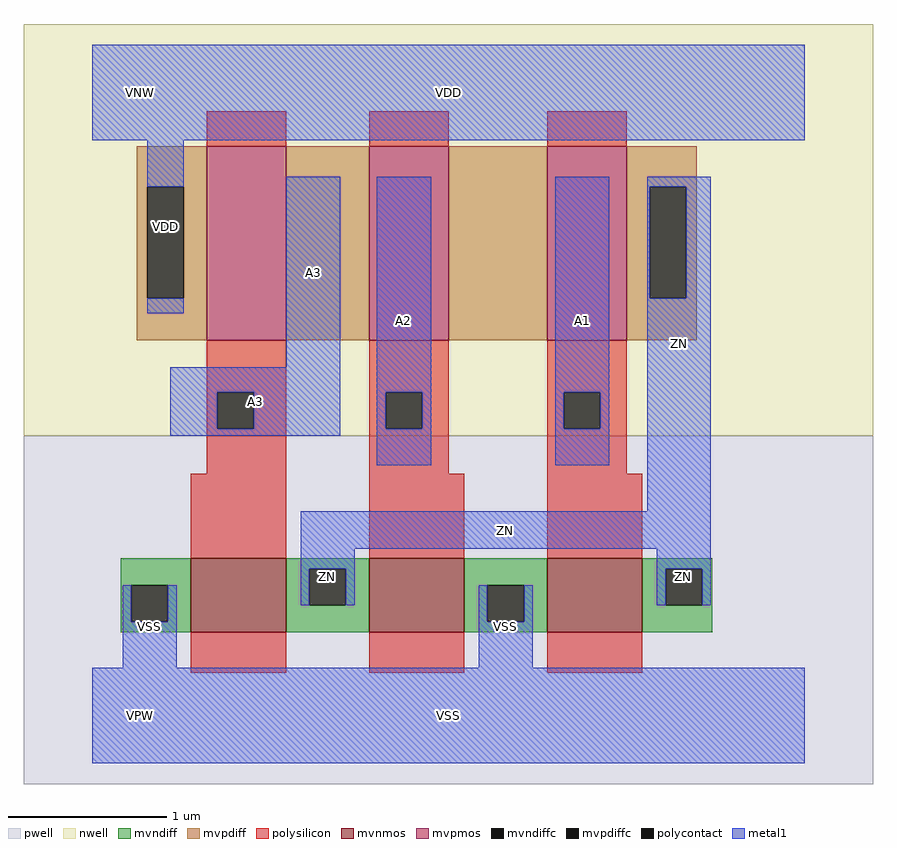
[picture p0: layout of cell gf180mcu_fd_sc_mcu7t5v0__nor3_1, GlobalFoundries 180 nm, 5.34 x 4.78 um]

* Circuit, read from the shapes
.subckt gf180mcu_fd_sc_mcu7t5v0__nor3_1 A1 A2 A3 ZN VDD VNW VPW VSS
XM1 ZN A3 VSS VPW nfet_06v0 w=0.465u l=0.6u
XM2 VSS A2 ZN VPW nfet_06v0 w=0.465u l=0.6u
XM3 ZN A1 VSS VPW nfet_06v0 w=0.465u l=0.6u
XM4 n1 A3 VDD VNW pfet_06v0 w=1.22u l=0.5u
XM5 n2 A2 n1 VNW pfet_06v0 w=1.22u l=0.5u
XM6 ZN A1 n2 VNW pfet_06v0 w=1.22u l=0.5u
.ends

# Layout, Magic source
magic
tech gf180mcuD
magscale 1 10
<< nwell >>
rect -86 352 982 870
<< pwell >>
rect -86 -86 982 352
<< mvnmos >>
rect 124 105 244 198
rect 348 105 468 198
rect 572 105 692 198
<< mvpmos >>
rect 144 472 244 716
rect 348 472 448 716
rect 572 472 672 716
<< mvndiff >>
rect 36 164 124 198
rect 36 118 49 164
rect 95 118 124 164
rect 36 105 124 118
rect 244 185 348 198
rect 244 139 273 185
rect 319 139 348 185
rect 244 105 348 139
rect 468 164 572 198
rect 468 118 497 164
rect 543 118 572 164
rect 468 105 572 118
rect 692 185 780 198
rect 692 139 721 185
rect 767 139 780 185
rect 692 105 780 139
<< mvpdiff >>
rect 56 665 144 716
rect 56 525 69 665
rect 115 525 144 665
rect 56 472 144 525
rect 244 472 348 716
rect 448 472 572 716
rect 672 665 760 716
rect 672 525 701 665
rect 747 525 760 665
rect 672 472 760 525
<< mvndiffc >>
rect 49 118 95 164
rect 273 139 319 185
rect 497 118 543 164
rect 721 139 767 185
<< mvpdiffc >>
rect 69 525 115 665
rect 701 525 747 665
<< polysilicon >>
rect 144 716 244 760
rect 348 716 448 760
rect 572 716 672 760
rect 144 407 244 472
rect 144 361 157 407
rect 203 361 244 407
rect 144 304 244 361
rect 124 198 244 304
rect 348 407 448 472
rect 348 361 369 407
rect 415 361 448 407
rect 348 304 448 361
rect 572 407 672 472
rect 572 361 593 407
rect 639 361 672 407
rect 572 304 672 361
rect 348 198 468 304
rect 572 198 692 304
rect 124 54 244 105
rect 348 54 468 105
rect 572 54 692 105
<< polycontact >>
rect 157 361 203 407
rect 369 361 415 407
rect 593 361 639 407
<< metal1 >>
rect 0 724 896 844
rect 69 665 115 724
rect 69 506 115 525
rect 244 438 312 678
rect 98 407 312 438
rect 98 361 157 407
rect 203 361 312 407
rect 98 352 312 361
rect 358 407 426 678
rect 358 361 369 407
rect 415 361 426 407
rect 358 315 426 361
rect 582 407 650 678
rect 582 361 593 407
rect 639 361 650 407
rect 582 315 650 361
rect 698 665 778 678
rect 698 525 701 665
rect 747 525 778 665
rect 698 257 778 525
rect 262 210 778 257
rect 262 185 330 210
rect 38 118 49 164
rect 95 118 106 164
rect 262 139 273 185
rect 319 139 330 185
rect 710 185 778 210
rect 38 60 106 118
rect 486 118 497 164
rect 543 118 554 164
rect 710 139 721 185
rect 767 139 778 185
rect 486 60 554 118
rect 0 -60 896 60
<< labels >>
flabel metal1 s 244 438 312 678 0 FreeSans 400 0 0 0 A3
port 3 nsew default input
flabel metal1 s 0 724 896 844 0 FreeSans 400 0 0 0 VDD
port 5 nsew power bidirectional abutment
flabel metal1 s 486 60 554 164 0 FreeSans 400 0 0 0 VSS
port 8 nsew ground bidirectional abutment
flabel metal1 s 698 257 778 678 0 FreeSans 400 0 0 0 ZN
port 4 nsew default output
flabel metal1 s 582 315 650 678 0 FreeSans 400 0 0 0 A1
port 1 nsew default input
flabel metal1 s 358 315 426 678 0 FreeSans 400 0 0 0 A2
port 2 nsew default input
flabel nwell s 10 734 110 834 0 FreeSans 400 0 0 0 VNW
port 6 nsew power bidirectional
flabel pwell s 10 -50 110 50 0 FreeSans 400 0 0 0 VPW
port 7 nsew ground bidirectional
rlabel metal1 s 98 352 312 438 1 A3
port 3 nsew default input
rlabel metal1 s 262 210 778 257 1 ZN
port 4 nsew default output
rlabel metal1 s 710 139 778 210 1 ZN
port 4 nsew default output
rlabel metal1 s 262 139 330 210 1 ZN
port 4 nsew default output
rlabel metal1 s 69 506 115 724 1 VDD
port 5 nsew power bidirectional abutment
rlabel metal1 s 38 60 106 164 1 VSS
port 8 nsew ground bidirectional abutment
rlabel metal1 s 0 -60 896 60 1 VSS
port 8 nsew ground bidirectional abutment
<< properties >>
string FIXED_BBOX 0 0 896 784
string GDS_END 750912
string GDS_FILE $PDKPATH/libs.ref/gf180mcu_fd_sc_mcu7t5v0/gds/gf180mcu_fd_sc_mcu7t5v0.gds
string GDS_START 748016
string LEFclass core
string LEFsite GF018hv5v_mcu_sc7
string LEFsymmetry X Y
<< end >>
